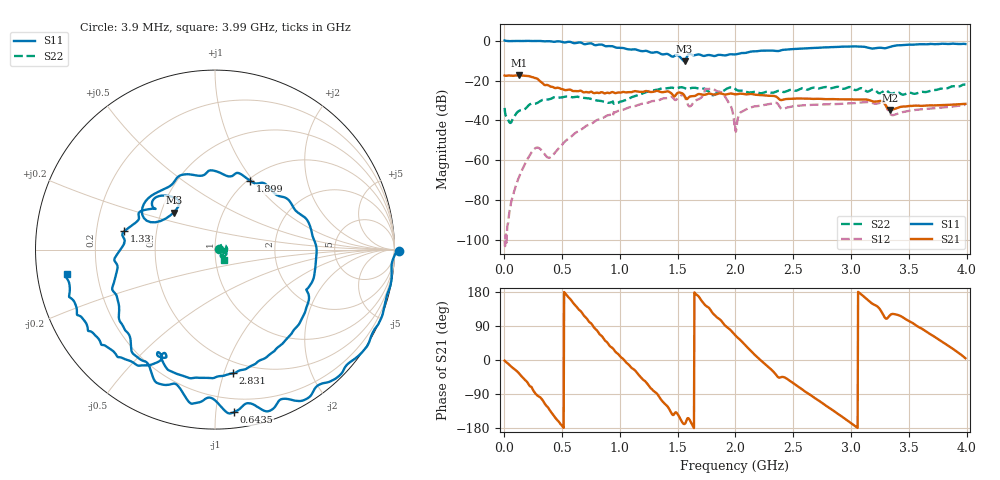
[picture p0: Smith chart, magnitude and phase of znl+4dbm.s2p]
#  HZ  S  RI  R  50.00
! Rohde & Schwarz Vector Network Analyzer
! Rohde-Schwarz,ZNL20-2Port,1323001220101312,1.72.1.6-23.02.1.246
! Created: UTC 10/14/2024, 9:12:47 PM
! freq[Hz]  re:S11  im:S11  re:S21  im:S21  re:S12  im:S12  re:S22  im:S22
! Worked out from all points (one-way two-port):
!   1023 points, 3.9 MHz to 3.99 GHz, reference 50 ohm
!   highest |S21| = -17.28 dB at 128.7 MHz (marker M1); lowest = -34.7 dB at 3.338 GHz (marker M2)
!   lowest |S11| = -10.2 dB at 1.56 GHz (marker M3), VSWR 1.90, Z = 29.1 + j13.3 ohm
!   |S11| at or under -10 dB: 1.551 GHz to 1.565 GHz (13.41 MHz wide, 0.86 % of centre)
!   |S22| runs from -41.3 to -22.0 dB; largest |S21 - S12| = 0.14
!   S11 on the Smith chart (normalised r, x): 3.9 MHz: -71, -22; 643.5 MHz: 0.10, -1.12; 1.33 GHz: 0.32, +0.09; 1.899 GHz: 1.03, +0.97; 2.831 GHz: 0.40, -1.07; 3.99 GHz: 0.09, -0.08
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3900000  1.026 -0.00814  0.1346 -0.00402  1.92e-06 -9.1e-06  0.0205 0.00107
5.46e7  0.9833 -0.1065  0.1289 -0.0365  -6.26e-05 2.62e-05  0.00725 0.00464
1.287e8  0.9628 -0.2388  0.1116 -0.0791  -0.000305 0.00022  0.013 0.0114
2.652e8  0.8642 -0.4989  0.00811 -0.1159  0.000284 0.00193  0.0201 0.017
3.978e8  0.652 -0.7297  -0.0494 -0.0512  0.000689 0.00094  0.0305 0.0161
6.435e8  0.105 -0.9065  -0.0377 0.0391  0.00434 0.00316  0.0384 0.00528
6.708e8  0.0478 -0.8905  -0.0316 0.0441  0.00511 0.00306  0.0372 0.00447
9.36e8  -0.4628 -0.5711  0.0438 0.0272  0.0107 -0.00895  0.0285 0.00642
1.3299e9  -0.5048 0.1026  -0.00176 -0.0548  -0.0273 -0.0158  0.0551 0.0226
1.3338e9  -0.4977 0.1087  -0.0034 -0.0543  -0.0277 -0.0156  0.0557 0.0224
1.56e9  -0.2302 0.2064  -0.041 -0.00797  -0.0209 0.0336  0.065 0.00116
1.6068e9  -0.3853 0.2715  -0.0371 -0.014  -0.013 0.0183  0.0639 -0.00114
1.755e9  -0.0396 0.4365  -0.0358 0.0289  -0.0135 0.0601  0.0516 -0.0202
1.8993e9  0.1969 0.3824  -0.00361 0.045  0.0445 0.00534  0.0553 0.0032
1.9968e9  0.3317 0.3128  0.0186 0.0413  -0.00886 0.000423  0.0604 -0.0186
2.1606e9  0.5339 0.1172  0.0431 0.0122  0.0222 0.00221  0.0502 -0.0138
2.6637e9  0.2967 -0.5911  -0.00343 -0.0345  -0.00339 -0.0243  0.0619 -0.0212
2.8314e9  0.1011 -0.6892  -0.0222 -0.0263  -0.0173 -0.0187  0.0567 -0.0308
3.2682e9  -0.3224 -0.5835  -0.0175 0.0249  -0.0126 0.0253  0.0324 -0.0393
3.3267e9  -0.3059 -0.6189  -0.00776 0.0171  -0.000158 0.0163  0.0376 -0.0342
3.3384e9  -0.324 -0.629  -0.00876 0.0161  -0.00115 0.0145  0.0344 -0.0336
3.9897e9  -0.8247 -0.1377  0.0259 0.00212  0.0246 0.00108  0.0523 -0.0595
